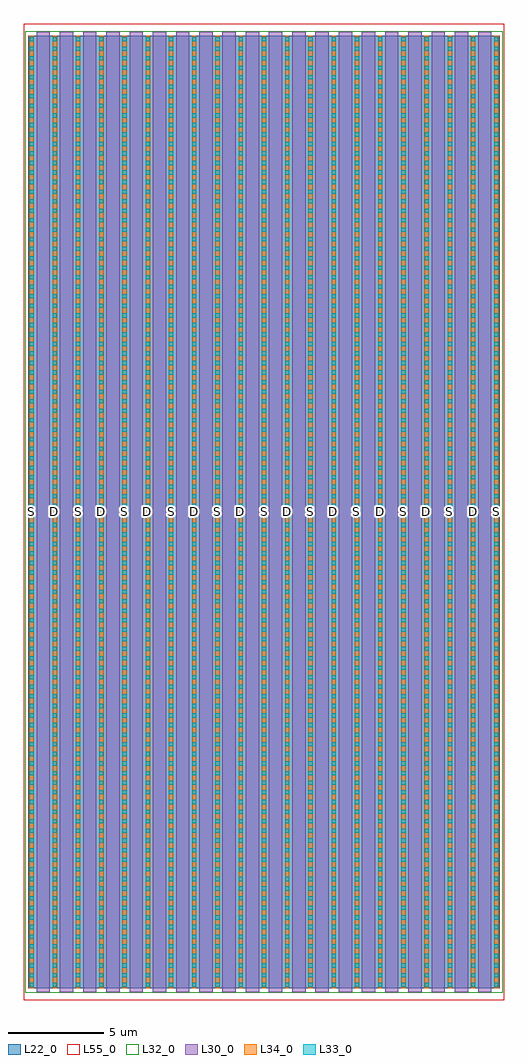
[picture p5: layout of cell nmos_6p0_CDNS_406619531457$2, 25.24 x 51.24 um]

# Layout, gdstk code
import gdstk
lib = gdstk.Library(unit=1e-6, precision=1e-09)
def R(c, l, rs):  # rectangles x0, y0, x1, y1
    for r in rs: c.add(gdstk.rectangle(r[:2], r[2:], *l))
def A(c, l, x, y, w, h, nx, ny, dx, dy):  # array of equal rectangles
    R(c, l, [(x+i*dx, y+j*dy, x+i*dx+w, y+j*dy+h) for i in range(nx) for j in range(ny)])
L22_0 = (22, 0)
L30_0 = (30, 0)
L32_0 = (32, 0)
L33_0 = (33, 0)
L34_0 = (34, 0)
L55_0 = (55, 0)

nmos_6p0_cdns_4066195314 = lib.new_cell('nmos_6p0_CDNS_406619531457$2')
A(nmos_6p0_cdns_4066195314, L22_0, -0.44, 0, 0.36, 50, 21, 1, 1.22, 0)
R(nmos_6p0_cdns_4066195314, L22_0, [(-0.44,0,24.32,50)])
A(nmos_6p0_cdns_4066195314, L30_0, 0, -0.22, 0.7, 50.44, 20, 1, 1.22, 0)
A(nmos_6p0_cdns_4066195314, L30_0, 0, 50, 0.7, 0.22, 20, 1, 1.22, 0)
R(nmos_6p0_cdns_4066195314, L32_0, [(-0.6,-0.23,24.48,50.23)])
A(nmos_6p0_cdns_4066195314, L33_0, -0.37, 0.07, 0.22, 0.22, 21, 29, 1.22, 0.505)
A(nmos_6p0_cdns_4066195314, L33_0, -0.37, 14.71, 0.22, 0.22, 21, 71, 1.22, 0.5)
R(nmos_6p0_cdns_4066195314, L34_0, [(-0.375,0,-0.145,50), (-0.375,0,-0.145,50), (0.845,0,1.075,50), (0.845,0,1.075,50), (2.065,0,2.295,50), (2.065,0,2.295,50), (3.285,0,3.515,50), (3.285,0,3.515,50), (4.505,0,4.735,50), (4.505,0,4.735,50), (5.725,0,5.955,50), (5.725,0,5.955,50), (6.945,0,7.175,50), (6.945,0,7.175,50), (8.165,0,8.395,50), (8.165,0,8.395,50), (9.385,0,9.615,50), (9.385,0,9.615,50), (10.605,0,10.835,50), (10.605,0,10.835,50), (11.825,0,12.055,50), (11.825,0,12.055,50), (13.045,0,13.275,50), (13.045,0,13.275,50), (14.265,0,14.495,50), (14.265,0,14.495,50), (15.485,0,15.715,50), (15.485,0,15.715,50), (16.705,0,16.935,50), (16.705,0,16.935,50), (17.925,0,18.155,50), (17.925,0,18.155,50), (19.145,0,19.375,50), (19.145,0,19.375,50), (20.365,0,20.595,50), (20.365,0,20.595,50), (21.585,0,21.815,50), (21.585,0,21.815,50), (22.805,0,23.035,50), (22.805,0,23.035,50), (24.025,0,24.255,50), (24.025,0,24.255,50)])
R(nmos_6p0_cdns_4066195314, L55_0, [(-0.68,-0.62,24.56,50.62)])
nmos_6p0_cdns_4066195314.add(gdstk.Label('S', (-0.26,25), layer=34, texttype=0))
nmos_6p0_cdns_4066195314.add(gdstk.Label('S', (24.14,25), layer=34, texttype=0))
nmos_6p0_cdns_4066195314.add(gdstk.Label('D', (0.96,25), layer=34, texttype=0))
nmos_6p0_cdns_4066195314.add(gdstk.Label('S', (2.18,25), layer=34, texttype=0))
nmos_6p0_cdns_4066195314.add(gdstk.Label('D', (3.4,25), layer=34, texttype=0))
nmos_6p0_cdns_4066195314.add(gdstk.Label('S', (4.62,25), layer=34, texttype=0))
nmos_6p0_cdns_4066195314.add(gdstk.Label('D', (5.84,25), layer=34, texttype=0))
nmos_6p0_cdns_4066195314.add(gdstk.Label('S', (7.06,25), layer=34, texttype=0))
nmos_6p0_cdns_4066195314.add(gdstk.Label('D', (8.28,25), layer=34, texttype=0))
nmos_6p0_cdns_4066195314.add(gdstk.Label('S', (9.5,25), layer=34, texttype=0))
nmos_6p0_cdns_4066195314.add(gdstk.Label('D', (10.72,25), layer=34, texttype=0))
nmos_6p0_cdns_4066195314.add(gdstk.Label('S', (11.94,25), layer=34, texttype=0))
nmos_6p0_cdns_4066195314.add(gdstk.Label('D', (13.16,25), layer=34, texttype=0))
nmos_6p0_cdns_4066195314.add(gdstk.Label('S', (14.38,25), layer=34, texttype=0))
nmos_6p0_cdns_4066195314.add(gdstk.Label('D', (15.6,25), layer=34, texttype=0))
nmos_6p0_cdns_4066195314.add(gdstk.Label('S', (16.82,25), layer=34, texttype=0))
nmos_6p0_cdns_4066195314.add(gdstk.Label('D', (18.04,25), layer=34, texttype=0))
nmos_6p0_cdns_4066195314.add(gdstk.Label('S', (19.26,25), layer=34, texttype=0))
nmos_6p0_cdns_4066195314.add(gdstk.Label('D', (20.48,25), layer=34, texttype=0))
nmos_6p0_cdns_4066195314.add(gdstk.Label('S', (21.7,25), layer=34, texttype=0))
nmos_6p0_cdns_4066195314.add(gdstk.Label('D', (22.92,25), layer=34, texttype=0))

lib.write_gds('nmos_6p0_CDNS_406619531457_2.gds')
